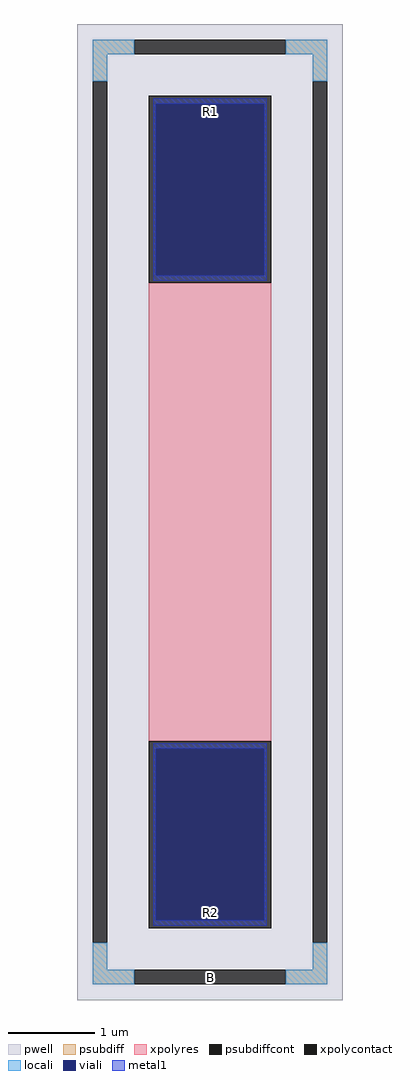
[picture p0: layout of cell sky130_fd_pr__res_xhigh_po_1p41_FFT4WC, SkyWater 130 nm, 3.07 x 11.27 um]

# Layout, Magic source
magic
tech sky130A
magscale 1 2
<< pwell >>
rect -307 -1127 307 1127
<< psubdiff >>
rect -271 1057 -175 1091
rect 175 1057 271 1091
rect -271 995 -237 1057
rect 237 995 271 1057
rect -271 -1057 -237 -995
rect 237 -1057 271 -995
rect -271 -1091 -175 -1057
rect 175 -1091 271 -1057
<< psubdiffcont >>
rect -175 1057 175 1091
rect -271 -995 -237 995
rect 237 -995 271 995
rect -175 -1091 175 -1057
<< xpolycontact >>
rect -141 529 141 961
rect -141 -961 141 -529
<< xpolyres >>
rect -141 -529 141 529
<< locali >>
rect -271 1057 -175 1091
rect 175 1057 271 1091
rect -271 995 -237 1057
rect 237 995 271 1057
rect -271 -1057 -237 -995
rect 237 -1057 271 -995
rect -271 -1091 -175 -1057
rect 175 -1091 271 -1057
<< viali >>
rect -125 546 125 943
rect -125 -943 125 -546
<< metal1 >>
rect -131 943 131 955
rect -131 546 -125 943
rect 125 546 131 943
rect -131 534 131 546
rect -131 -546 131 -534
rect -131 -943 -125 -546
rect 125 -943 131 -546
rect -131 -955 131 -943
<< labels >>
rlabel psubdiffcont 0 -1074 0 -1074 0 B
port 1 nsew
rlabel xpolycontact 0 926 0 926 0 R1
port 2 nsew
rlabel xpolycontact 0 -926 0 -926 0 R2
port 3 nsew
<< properties >>
string FIXED_BBOX -254 -1074 254 1074
string gencell sky130_fd_pr__res_xhigh_po_1p41
string library sky130
string parameters w 1.410 l 5.45 m 1 nx 1 wmin 1.410 lmin 0.50 class resistor rho 2000 val 7.997k dummy 0 dw 0.0 term 188.2 sterm 0.0 caplen 0 wmax 1.410 guard 1 glc 1 grc 1 gtc 1 gbc 1 compatible {sky130_fd_pr__res_xhigh_po_0p35  sky130_fd_pr__res_xhigh_po_0p69 sky130_fd_pr__res_xhigh_po_1p41  sky130_fd_pr__res_xhigh_po_2p85 sky130_fd_pr__res_xhigh_po_5p73} snake 0 full_metal 1 n_guard 0 hv_guard 0 vias 1 viagb 0 viagt 0 viagl 0 viagr 0 doports 1
<< end >>
